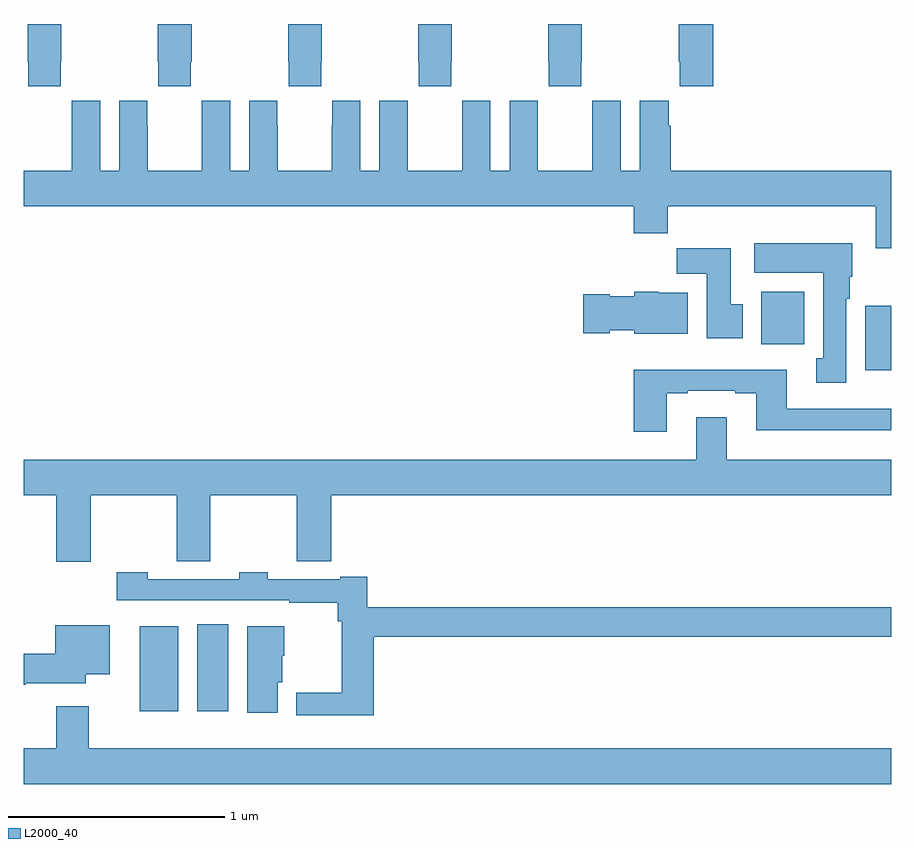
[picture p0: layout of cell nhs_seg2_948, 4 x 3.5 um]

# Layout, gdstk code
import gdstk
lib = gdstk.Library(unit=1e-6, precision=1e-09)
def R(c, l, rs):  # rectangles x0, y0, x1, y1
    for r in rs: c.add(gdstk.rectangle(r[:2], r[2:], *l))
def P(c, l, *ps):  # polygons
    for p in ps: c.add(gdstk.Polygon(p, *l))
L2000_40 = (2000, 40)

nhs_seg2_948 = lib.new_cell('nhs_seg2_948')
R(nhs_seg2_948, L2000_40, [(159.536,654.632,159.712,655.024), (159.8,654.632,159.943,655.033), (162.881,656.204,163,656.5), (162.401,656.324,162.598,656.566)])
P(nhs_seg2_948, L2000_40, [(162.179,657.8),(162.019,657.8),(162.019,657.625),(162.025,657.625),(162.025,657.513),(162.179,657.513)],
  [(161.571,657.625),(161.574,657.625),(161.574,657.8),(161.419,657.8),(161.419,657.625),(161.421,657.625),(161.421,657.513),(161.571,657.513)],
  [(160.971,657.625),(160.974,657.625),(160.974,657.8),(160.819,657.8),(160.819,657.625),(160.821,657.625),(160.821,657.513),(160.971,657.513)],
  [(160.371,657.625),(160.374,657.625),(160.374,657.8),(160.219,657.8),(160.219,657.625),(160.221,657.625),(160.221,657.513),(160.371,657.513)],
  [(159.171,657.625),(159.174,657.625),(159.174,657.8),(159.019,657.8),(159.019,657.625),(159.021,657.625),(159.021,657.513),(159.171,657.513)],
  [(159.771,657.625),(159.774,657.625),(159.774,657.8),(159.619,657.8),(159.619,657.625),(159.621,657.625),(159.621,657.513),(159.771,657.513)],
  [(161.813,656.836),(161.969,656.836),(161.969,656.96),(162.929,656.96),(162.929,656.766),(163,656.766),(163,657.124),(161.984,657.124),(161.984,657.332),(161.974,657.332),(161.974,657.445),(161.84,657.445),(161.84,657.124),(161.752,657.124),(161.752,657.445),(161.622,657.445),(161.622,657.332),(161.621,657.332),(161.621,657.124),(161.371,657.124),(161.371,657.332),(161.37,657.332),(161.37,657.445),(161.24,657.445),(161.24,657.124),(161.152,657.124),(161.152,657.445),(161.022,657.445),(161.022,657.332),(161.021,657.332),(161.021,657.124),(160.771,657.124),(160.771,657.332),(160.77,657.332),(160.77,657.445),(160.64,657.445),(160.64,657.124),(160.552,657.124),(160.552,657.445),(160.422,657.445),(160.422,657.332),(160.421,657.332),(160.421,657.124),(160.171,657.124),(160.171,657.332),(160.17,657.332),(160.17,657.445),(160.04,657.445),(160.04,657.124),(159.952,657.124),(159.952,657.445),(159.822,657.445),(159.822,657.332),(159.821,657.332),(159.821,657.124),(159.571,657.124),(159.571,657.332),(159.57,657.332),(159.57,657.445),(159.44,657.445),(159.44,657.124),(159.352,657.124),(159.352,657.445),(159.222,657.445),(159.222,657.332),(159.221,657.332),(159.221,657.124),(159,657.124),(159,656.96),(161.813,656.96)],
  [(162.793,656.534),(162.808,656.534),(162.808,656.634),(162.82,656.634),(162.82,656.788),(162.369,656.788),(162.369,656.654),(162.686,656.654),(162.686,656.258),(162.653,656.258),(162.653,656.145),(162.793,656.145)],
  [(162.316,656.508),(162.259,656.508),(162.259,656.767),(162.01,656.767),(162.01,656.648),(162.149,656.648),(162.149,656.352),(162.316,656.352)],
  [(162.061,656.56),(161.928,656.56),(161.928,656.566),(161.814,656.566),(161.814,656.545),(161.703,656.545),(161.703,656.553),(161.58,656.553),(161.58,656.375),(161.703,656.375),(161.703,656.387),(161.814,656.387),(161.814,656.372),(162.061,656.372)],
  [(161.965,656.097),(162.061,656.097),(162.061,656.109),(162.281,656.109),(162.281,656.097),(162.377,656.097),(162.377,655.928),(163,655.928),(163,656.025),(162.517,656.025),(162.517,656.206),(161.813,656.206),(161.813,655.92),(161.965,655.92)],
  [(159.309,655.628),(159.706,655.628),(159.706,655.324),(159.86,655.324),(159.86,655.628),(160.258,655.628),(160.258,655.324),(160.418,655.324),(160.418,655.628),(163,655.628),(163,655.792),(162.241,655.792),(162.241,655.987),(162.101,655.987),(162.101,655.792),(159,655.792),(159,655.628),(159.149,655.628),(159.149,655.32),(159.309,655.32)],
  [(160.613,654.976),(163,654.976),(163,655.112),(160.583,655.112),(160.583,655.252),(160.46,655.252),(160.46,655.239),(160.125,655.239),(160.125,655.272),(159.993,655.272),(159.993,655.239),(159.573,655.239),(159.573,655.272),(159.429,655.272),(159.429,655.143),(160.225,655.143),(160.225,655.131),(160.447,655.131),(160.447,655.046),(160.466,655.046),(160.466,654.716),(160.257,654.716),(160.257,654.614),(160.613,654.614)],
  [(159.01,654.761),(159.286,654.761),(159.286,654.803),(159.397,654.803),(159.397,655.027),(159.146,655.027),(159.146,654.896),(159,654.896),(159,654.754),(159.01,654.754)],
  [(160.171,654.765),(160.192,654.765),(160.192,654.888),(160.201,654.888),(160.201,655.024),(160.031,655.024),(160.031,654.624),(160.171,654.624)],
  [(163,654.46),(159.301,654.46),(159.301,654.655),(159.149,654.655),(159.149,654.46),(159,654.46),(159,654.296),(163,654.296)])

lib.write_gds('nhs_seg2_948.gds')
